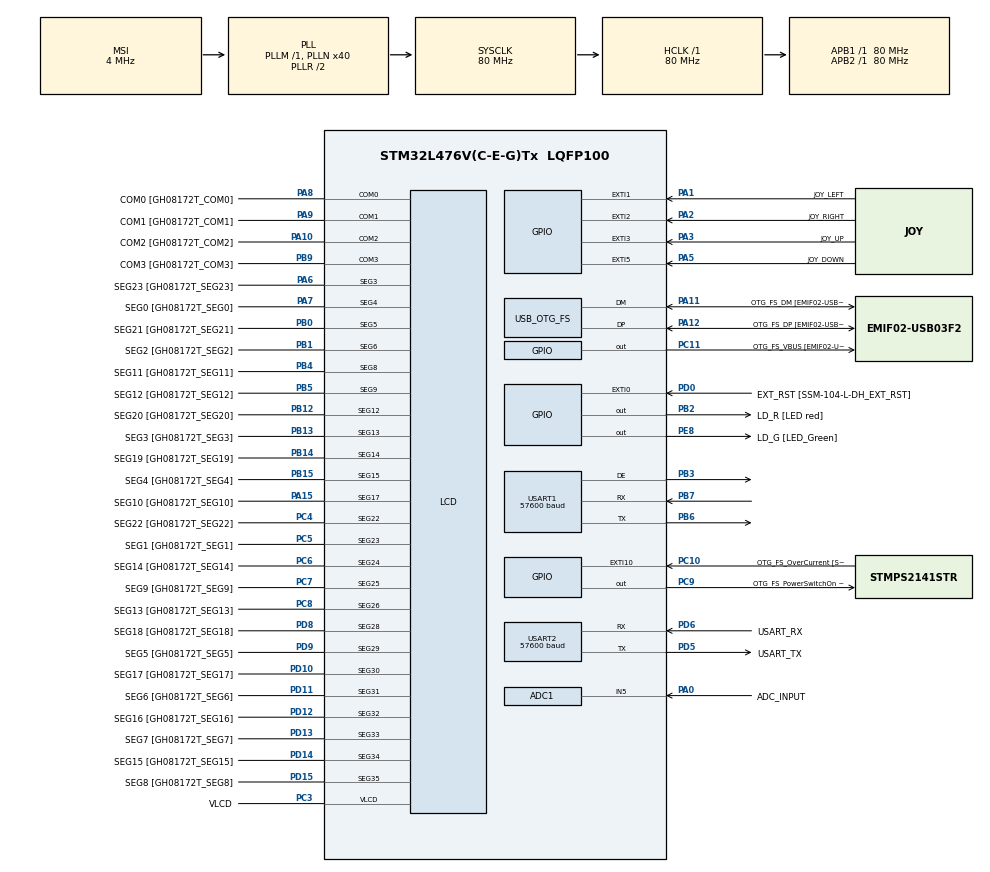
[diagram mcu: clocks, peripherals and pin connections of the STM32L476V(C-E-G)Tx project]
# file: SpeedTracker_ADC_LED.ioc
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ADC1.Channel-7\#ChannelRegularConversion=ADC_CHANNEL_5
ADC1.NbrOfConversionFlag=1
ADC1.OffsetNumber-7\#ChannelRegularConversion=ADC_OFFSET_NONE
ADC1.Rank-7\#ChannelRegularConversion=1
ADC1.SamplingTime-7\#ChannelRegularConversion=ADC_SAMPLETIME_2CYCLES_5
ADC1.master=1
Mcu.Family=STM32L4
Mcu.Name=STM32L476V(C-E-G)Tx
Mcu.Package=LQFP100
NVIC.EXTI1_IRQn=true\:2\:0\:true\:false\:true\:true\:true
NVIC.EXTI2_IRQn=true\:2\:0\:true\:false\:true\:true\:true
NVIC.EXTI3_IRQn=true\:2\:0\:true\:false\:true\:true\:true
NVIC.EXTI9_5_IRQn=true\:2\:0\:true\:false\:true\:true\:true
NVIC.OTG_FS_IRQn=true\:0\:0\:false\:false\:true\:true\:true
NVIC.PriorityGroup=NVIC_PRIORITYGROUP_4
NVIC.TIM1_UP_TIM16_IRQn=true\:1\:0\:true\:false\:true\:true\:true
PA0.GPIO_Label=ADC_INPUT
PA0.Signal=ADCx_IN5
PA1.GPIO_Label=JOY_LEFT
PA1.GPIO_PuPd=GPIO_PULLDOWN
PA1.Signal=GPXTI1
PA10.GPIO_Label=COM2 [GH08172T_COM2]
PA10.GPIO_Mode=GPIO_MODE_AF_PP
PA10.GPIO_PuPd=GPIO_NOPULL
PA10.GPIO_Speed=GPIO_SPEED_FREQ_LOW
PA10.Mode=1/4 Duty Cycle
PA10.Signal=LCD_COM2
PA11.GPIO_Label=OTG_FS_DM [EMIF02-USB03F2_D-out]
PA11.GPIO_Mode=GPIO_MODE_AF_PP
PA11.GPIO_PuPd=GPIO_NOPULL
PA11.GPIO_Speed=GPIO_SPEED_FREQ_VERY_HIGH
PA11.Mode=Host_Only
PA11.Signal=USB_OTG_FS_DM
PA12.GPIO_Label=OTG_FS_DP [EMIF02-USB03F2_D+out]
PA12.GPIO_Mode=GPIO_MODE_AF_PP
PA12.GPIO_PuPd=GPIO_NOPULL
PA12.GPIO_Speed=GPIO_SPEED_FREQ_VERY_HIGH
PA12.Mode=Host_Only
PA12.Signal=USB_OTG_FS_DP
PA13\ (JTMS-SWDIO).GPIO_Label=SWDIO
PA13\ (JTMS-SWDIO).Mode=Serial_Wire
PA13\ (JTMS-SWDIO).Signal=SYS_JTMS-SWDIO
PA14\ (JTCK-SWCLK).GPIO_Label=SWCLK
PA14\ (JTCK-SWCLK).Mode=Serial_Wire
PA14\ (JTCK-SWCLK).Signal=SYS_JTCK-SWCLK
PA15\ (JTDI).GPIO_Label=SEG10 [GH08172T_SEG10]
PA15\ (JTDI).GPIO_Mode=GPIO_MODE_AF_PP
PA15\ (JTDI).GPIO_PuPd=GPIO_NOPULL
PA15\ (JTDI).GPIO_Speed=GPIO_SPEED_FREQ_LOW
PA15\ (JTDI).Mode=SEG17
PA15\ (JTDI).Signal=LCD_SEG17
PA2.GPIO_Label=JOY_RIGHT
PA2.GPIO_PuPd=GPIO_PULLDOWN
PA2.Signal=GPXTI2
PA3.GPIO_Label=JOY_UP
PA3.GPIO_PuPd=GPIO_PULLDOWN
PA3.Signal=GPXTI3
PA5.GPIO_Label=JOY_DOWN
PA5.GPIO_PuPd=GPIO_PULLDOWN
PA5.Signal=GPXTI5
PA6.GPIO_Label=SEG23 [GH08172T_SEG23]
PA6.GPIO_Mode=GPIO_MODE_AF_PP
PA6.GPIO_PuPd=GPIO_NOPULL
PA6.GPIO_Speed=GPIO_SPEED_FREQ_LOW
PA6.Mode=SEG3
PA6.Signal=LCD_SEG3
PA7.GPIO_Label=SEG0 [GH08172T_SEG0]
PA7.GPIO_Mode=GPIO_MODE_AF_PP
PA7.GPIO_PuPd=GPIO_NOPULL
PA7.GPIO_Speed=GPIO_SPEED_FREQ_LOW
PA7.Mode=SEG4
PA7.Signal=LCD_SEG4
PA8.GPIO_Label=COM0 [GH08172T_COM0]
PA8.GPIO_Mode=GPIO_MODE_AF_PP
PA8.GPIO_PuPd=GPIO_NOPULL
PA8.GPIO_Speed=GPIO_SPEED_FREQ_LOW
PA8.Mode=1/4 Duty Cycle
PA8.Signal=LCD_COM0
PA9.GPIO_Label=COM1 [GH08172T_COM1]
PA9.GPIO_Mode=GPIO_MODE_AF_PP
PA9.GPIO_PuPd=GPIO_NOPULL
PA9.GPIO_Speed=GPIO_SPEED_FREQ_LOW
PA9.Mode=1/4 Duty Cycle
PA9.Signal=LCD_COM1
PB0.GPIO_Label=SEG21 [GH08172T_SEG21]
PB0.GPIO_Mode=GPIO_MODE_AF_PP
PB0.GPIO_PuPd=GPIO_NOPULL
PB0.GPIO_Speed=GPIO_SPEED_FREQ_LOW
PB0.Mode=SEG5
PB0.Signal=LCD_SEG5
PB1.GPIO_Label=SEG2 [GH08172T_SEG2]
PB1.GPIO_Mode=GPIO_MODE_AF_PP
PB1.GPIO_PuPd=GPIO_NOPULL
PB1.GPIO_Speed=GPIO_SPEED_FREQ_LOW
PB1.Mode=SEG6
PB1.Signal=LCD_SEG6
PB12.GPIO_Label=SEG20 [GH08172T_SEG20]
PB12.GPIO_Mode=GPIO_MODE_AF_PP
PB12.GPIO_PuPd=GPIO_NOPULL
PB12.GPIO_Speed=GPIO_SPEED_FREQ_LOW
PB12.Mode=SEG12
PB12.Signal=LCD_SEG12
PB13.GPIO_Label=SEG3 [GH08172T_SEG3]
PB13.GPIO_Mode=GPIO_MODE_AF_PP
PB13.GPIO_PuPd=GPIO_NOPULL
PB13.GPIO_Speed=GPIO_SPEED_FREQ_LOW
PB13.Mode=SEG13
PB13.Signal=LCD_SEG13
PB14.GPIO_Label=SEG19 [GH08172T_SEG19]
PB14.GPIO_Mode=GPIO_MODE_AF_PP
PB14.GPIO_PuPd=GPIO_NOPULL
PB14.GPIO_Speed=GPIO_SPEED_FREQ_LOW
PB14.Mode=SEG14
PB14.Signal=LCD_SEG14
PB15.GPIO_Label=SEG4 [GH08172T_SEG4]
PB15.GPIO_Mode=GPIO_MODE_AF_PP
PB15.GPIO_PuPd=GPIO_NOPULL
PB15.GPIO_Speed=GPIO_SPEED_FREQ_LOW
PB15.Mode=SEG15
PB15.Signal=LCD_SEG15
PB2.GPIO_Label=LD_R [LED red]
PB2.GPIO_ModeDefaultOutputPP=GPIO_MODE_OUTPUT_PP
PB2.GPIO_PuPd=GPIO_PULLUP
PB2.GPIO_Speed=GPIO_SPEED_FREQ_VERY_HIGH
PB2.Signal=GPIO_Output
PB3\ (JTDO-TRACESWO).Mode=Hardware Flow Control (RS485)
PB3\ (JTDO-TRACESWO).Signal=USART1_DE
PB4\ (NJTRST).GPIO_Label=SEG11 [GH08172T_SEG11]
PB4\ (NJTRST).GPIO_Mode=GPIO_MODE_AF_PP
PB4\ (NJTRST).GPIO_PuPd=GPIO_NOPULL
PB4\ (NJTRST).GPIO_Speed=GPIO_SPEED_FREQ_LOW
PB4\ (NJTRST).Mode=SEG8
PB4\ (NJTRST).Signal=LCD_SEG8
PB5.GPIO_Label=SEG12 [GH08172T_SEG12]
PB5.GPIO_Mode=GPIO_MODE_AF_PP
PB5.GPIO_PuPd=GPIO_NOPULL
PB5.GPIO_Speed=GPIO_SPEED_FREQ_LOW
PB5.Mode=SEG9
PB5.Signal=LCD_SEG9
PB6.Mode=Asynchronous
PB6.Signal=USART1_TX
PB7.Mode=Asynchronous
PB7.Signal=USART1_RX
PB9.GPIO_FM9=__NULL
PB9.GPIO_Label=COM3 [GH08172T_COM3]
PB9.GPIO_Mode=GPIO_MODE_AF_PP
PB9.GPIO_PuPd=GPIO_NOPULL
PB9.GPIO_Speed=GPIO_SPEED_FREQ_LOW
PB9.Mode=1/4 Duty Cycle
PB9.Signal=LCD_COM3
PC10.GPIO_Label=OTG_FS_OverCurrent [STMPS2141STR_FAULT]
PC10.GPIO_ModeDefaultEXTI=GPIO_MODE_EVT_RISING
PC10.GPIO_PuPd=GPIO_NOPULL
PC10.Signal=GPXTI10
PC11.GPIO_Label=OTG_FS_VBUS [EMIF02-USB03F2_Vbus]
PC11.GPIO_ModeDefaultOutputPP=GPIO_MODE_OUTPUT_PP
PC11.GPIO_PuPd=GPIO_NOPULL
PC11.GPIO_Speed=GPIO_SPEED_FREQ_LOW
PC11.Signal=GPIO_Output
PC14-OSC32_IN\ (PC14).Mode=LSE-External-Oscillator
PC14-OSC32_IN\ (PC14).Signal=RCC_OSC32_IN
PC15-OSC32_OUT\ (PC15).Mode=LSE-External-Oscillator
PC15-OSC32_OUT\ (PC15).Signal=RCC_OSC32_OUT
PC3.GPIO_Label=VLCD
PC3.GPIO_Mode=GPIO_MODE_AF_PP
PC3.GPIO_PuPd=GPIO_NOPULL
PC3.GPIO_Speed=GPIO_SPEED_FREQ_LOW
PC3.Mode=1/4 Duty Cycle
PC3.Signal=LCD_VLCD
PC4.GPIO_Label=SEG22 [GH08172T_SEG22]
PC4.GPIO_Mode=GPIO_MODE_AF_PP
PC4.GPIO_PuPd=GPIO_NOPULL
PC4.GPIO_Speed=GPIO_SPEED_FREQ_LOW
PC4.Mode=SEG22
PC4.Signal=LCD_SEG22
PC5.GPIO_Label=SEG1 [GH08172T_SEG1]
PC5.GPIO_Mode=GPIO_MODE_AF_PP
PC5.GPIO_PuPd=GPIO_NOPULL
PC5.GPIO_Speed=GPIO_SPEED_FREQ_LOW
PC5.Mode=SEG23
PC5.Signal=LCD_SEG23
PC6.GPIO_Label=SEG14 [GH08172T_SEG14]
PC6.GPIO_Mode=GPIO_MODE_AF_PP
PC6.GPIO_PuPd=GPIO_NOPULL
PC6.GPIO_Speed=GPIO_SPEED_FREQ_LOW
PC6.Mode=SEG24
PC6.Signal=LCD_SEG24
PC7.GPIO_Label=SEG9 [GH08172T_SEG9]
PC7.GPIO_Mode=GPIO_MODE_AF_PP
PC7.GPIO_PuPd=GPIO_NOPULL
PC7.GPIO_Speed=GPIO_SPEED_FREQ_LOW
PC7.Mode=SEG25
PC7.Signal=LCD_SEG25
PC8.GPIO_Label=SEG13 [GH08172T_SEG13]
PC8.GPIO_Mode=GPIO_MODE_AF_PP
PC8.GPIO_PuPd=GPIO_NOPULL
PC8.GPIO_Speed=GPIO_SPEED_FREQ_LOW
PC8.Mode=SEG26
PC8.Signal=LCD_SEG26
PC9.GPIO_Label=OTG_FS_PowerSwitchOn [STMPS2141STR_EN]
PC9.GPIO_ModeDefaultOutputPP=GPIO_MODE_OUTPUT_PP
PC9.GPIO_PuPd=GPIO_NOPULL
PC9.GPIO_Speed=GPIO_SPEED_FREQ_LOW
PC9.PinState=GPIO_PIN_SET
PC9.Signal=GPIO_Output
PD0.GPIO_Label=EXT_RST [SSM-104-L-DH_EXT_RST]
PD0.GPIO_ModeDefaultEXTI=GPIO_MODE_EVT_RISING
PD0.GPIO_PuPd=GPIO_NOPULL
PD0.Signal=GPXTI0
PD10.GPIO_Label=SEG17 [GH08172T_SEG17]
PD10.GPIO_Mode=GPIO_MODE_AF_PP
PD10.GPIO_PuPd=GPIO_NOPULL
PD10.GPIO_Speed=GPIO_SPEED_FREQ_LOW
PD10.Mode=SEG30
PD10.Signal=LCD_SEG30
PD11.GPIO_Label=SEG6 [GH08172T_SEG6]
PD11.GPIO_Mode=GPIO_MODE_AF_PP
PD11.GPIO_PuPd=GPIO_NOPULL
PD11.GPIO_Speed=GPIO_SPEED_FREQ_LOW
PD11.Mode=SEG31
PD11.Signal=LCD_SEG31
PD12.GPIO_Label=SEG16 [GH08172T_SEG16]
PD12.GPIO_Mode=GPIO_MODE_AF_PP
PD12.GPIO_PuPd=GPIO_NOPULL
PD12.GPIO_Speed=GPIO_SPEED_FREQ_LOW
PD12.Mode=SEG32
PD12.Signal=LCD_SEG32
PD13.GPIO_Label=SEG7 [GH08172T_SEG7]
PD13.GPIO_Mode=GPIO_MODE_AF_PP
PD13.GPIO_PuPd=GPIO_NOPULL
PD13.GPIO_Speed=GPIO_SPEED_FREQ_LOW
PD13.Mode=SEG33
PD13.Signal=LCD_SEG33
PD14.GPIO_Label=SEG15 [GH08172T_SEG15]
PD14.GPIO_Mode=GPIO_MODE_AF_PP
PD14.GPIO_PuPd=GPIO_NOPULL
PD14.GPIO_Speed=GPIO_SPEED_FREQ_LOW
PD14.Mode=SEG34
PD14.Signal=LCD_SEG34
PD15.GPIO_Label=SEG8 [GH08172T_SEG8]
PD15.GPIO_Mode=GPIO_MODE_AF_PP
PD15.GPIO_PuPd=GPIO_NOPULL
PD15.GPIO_Speed=GPIO_SPEED_FREQ_LOW
PD15.Mode=SEG35
PD15.Signal=LCD_SEG35
PD5.GPIO_Label=USART_TX
PD5.GPIO_Mode=GPIO_MODE_AF_PP
PD5.GPIO_PuPd=GPIO_PULLUP
PD5.GPIO_Speed=GPIO_SPEED_FREQ_VERY_HIGH
PD5.Mode=Asynchronous
PD5.Signal=USART2_TX
PD6.GPIO_Label=USART_RX
PD6.GPIO_Mode=GPIO_MODE_AF_PP
PD6.GPIO_PuPd=GPIO_PULLUP
PD6.GPIO_Speed=GPIO_SPEED_FREQ_VERY_HIGH
PD6.Mode=Asynchronous
PD6.Signal=USART2_RX
PD8.GPIO_Label=SEG18 [GH08172T_SEG18]
PD8.GPIO_Mode=GPIO_MODE_AF_PP
PD8.GPIO_PuPd=GPIO_NOPULL
PD8.GPIO_Speed=GPIO_SPEED_FREQ_LOW
PD8.Mode=SEG28
PD8.Signal=LCD_SEG28
PD9.GPIO_Label=SEG5 [GH08172T_SEG5]
PD9.GPIO_Mode=GPIO_MODE_AF_PP
PD9.GPIO_PuPd=GPIO_NOPULL
PD9.GPIO_Speed=GPIO_SPEED_FREQ_LOW
PD9.Mode=SEG29
PD9.Signal=LCD_SEG29
PE8.GPIO_Label=LD_G [LED_Green]
PE8.GPIO_ModeDefaultOutputPP=GPIO_MODE_OUTPUT_PP
PE8.GPIO_PuPd=GPIO_PULLUP
PE8.GPIO_Speed=GPIO_SPEED_FREQ_VERY_HIGH
PE8.Signal=GPIO_Output
PH0-OSC_IN\ (PH0).Mode=HSE-External-Oscillator
PH0-OSC_IN\ (PH0).Signal=RCC_OSC_IN
PH1-OSC_OUT\ (PH1).Mode=HSE-External-Oscillator
PH1-OSC_OUT\ (PH1).Signal=RCC_OSC_OUT
ProjectManager.HeapSize=0x200
ProjectManager.StackSize=0x400
ProjectManager.TargetToolchain=STM32CubeIDE
RCC.ADCFreq_Value=48000000
RCC.AHBFreq_Value=80000000
RCC.APB1Freq_Value=80000000
RCC.APB1TimFreq_Value=80000000
RCC.APB2Freq_Value=80000000
RCC.APB2TimFreq_Value=80000000
RCC.CortexFreq_Value=80000000
RCC.HCLKFreq_Value=80000000
RCC.HSE_VALUE=8000000
RCC.HSI_VALUE=16000000
RCC.MSI_VALUE=4000000
RCC.PLLN=40
RCC.PLLSAI1N=24
RCC.PREFETCH_ENABLE=1
RCC.SYSCLKFreq_VALUE=80000000
RCC.SYSCLKSource=RCC_SYSCLKSOURCE_PLLCLK
RCC.USBFreq_Value=48000000
RCC.VCOOutputFreq_Value=160000000
SH.ADCx_IN5.0=ADC1_IN5,IN5-Single-Ended
TIM1.Period=198
TIM1.Prescaler=99
USART1.BaudRate=57600
USART1.Parity=PARITY_EVEN
USART1.VirtualMode-Asynchronous=VM_ASYNC
USART1.VirtualMode-Hardware\ Flow\ Control\ (RS485)=VM_ASYNC
USART1.WordLength=WORDLENGTH_9B
USART2.BaudRate=57600
USART2.Parity=PARITY_EVEN
USART2.VirtualMode-Asynchronous=VM_ASYNC
USART2.WordLength=WORDLENGTH_9B
USB_HOST.BSP.number=1
USB_HOST.USBH_HandleTypeDef=hUsbHostFS
USB_HOST.VirtualModeFS=Cdc
USB_HOST0.BSP.STBoard=false
USB_HOST0.BSP.api=Unknown
USB_HOST0.BSP.i2caddr=0
USB_HOST0.BSP.i2creg=0
USB_HOST0.BSP.instance=PC9
USB_HOST0.BSP.ip=GPIO
USB_HOST0.BSP.mode=Output
USB_HOST0.BSP.name=Drive_VBUS_FS
USB_HOST0.BSP.solution=PC9
USB_OTG_FS.VirtualMode=Host_Only
USB_OTG_FS.phy_itface=HCD_PHY_EMBEDDED
VP_TIM1_VS_ClockSourceINT.Mode=Internal
VP_USB_HOST_VS_USB_HOST_CDC_FS.Mode=CDC_FS
board=STM32L476G-DISCO

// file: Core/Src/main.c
/* USER CODE BEGIN Header */
/**
 ******************************************************************************
 * @file           : main.c
 * @brief          : Main program body
 ******************************************************************************
 * @attention
 *
 * Copyright EEEE2059(2020) Group 6.
 * All rights reserved.
 *
 * PB6 -> USART1_TX
 * PB7 -> USART1_RX
 * Baud rate: must be 57600 bits/s
 *
 * PA0 -> ADC_INPUT
 *
 * This program is only used for final demonstration!
 *
 ******************************************************************************
 */
/* USER CODE END Header */
#include "main.h"
#include "usb_host.h"

/* USER CODE BEGIN Includes */

#include <stdio.h>
#include <stm32l476g_discovery.h>
#include <stm32l476g_discovery_glass_lcd.h>
#include <arm_math.h>
#include <arm_const_structs.h>

/* USER CODE END Includes */

/* USER CODE BEGIN PTD */

typedef enum
{
	USER_SPEED_MODE_KPH = 0U, USER_SPEED_MODE_MPS = 1U, USER_SPEED_MODE_MPH = 2U
} USER_SpeedModeTypeDef;

/* USER CODE END PTD */

/* USER CODE BEGIN PD */

/**
 ******************************************************************************
 *Comment this line if you want to show speed
 *Or it will show frequency
 *When it is in FREQUENCY MODE, speed unit switching is disabled
 ******************************************************************************
 */
//#define SHOW_FREQ
#define SHOW_NUMBER

#ifdef SHOW_NUMBER
#define SHOW_NUMBER_START_VALUE 88
#endif

#define SAMPLE_FREQ (4000)
#define FFT_SIZE (4096)
#define N_BINS FFT_SIZE
#define OUTPUT_FREQ_OFFSET (1)

/* USER CODE END PD */

ADC_HandleTypeDef hadc1;

LCD_HandleTypeDef hlcd;

TIM_HandleTypeDef htim1;

UART_HandleTypeDef huart1;
UART_HandleTypeDef huart2;

/* USER CODE BEGIN PV */
//temp
uint8_t leftvalue = 0;
uint8_t rightvalue = 0;

//ADC
uint32_t currentADCValue = 0;
float32_t realVoltage = 0.0;

//FFT
float32_t fftMaxAmp = 0;
uint32_t fftMaxFreq = 0;
uint8_t isNewFreq = 0;	//1->enable	//0->unable
uint16_t fftIndex = 0;
float32_t fftInput[FFT_SIZE];
float32_t fftOutput[FFT_SIZE];
float32_t cmplxMagOutput[FFT_SIZE / 2];
arm_rfft_fast_instance_f32 S;

//LCD
char LCDTextBuffer[7];
uint8_t currentSpeedMode = USER_SPEED_MODE_KPH;
const uint8_t speedModeNum = 3;
float32_t realFreq = 0;
float32_t speedValue = 0;
const float32_t freqResolution = (float32_t) SAMPLE_FREQ / (float32_t) N_BINS;
const float32_t freqMax = (float32_t) 10525 / (float32_t) 9;
//const float32_t freqMin = (float32_t) 2105 / (float32_t) 27;
const float32_t freqMin = 0;
const float32_t ampMin = 34;
const float32_t factorFreqKPH = (float32_t) 108 / (float32_t) 2105 * (float32_t)100;	//times 100 for .XX
const float32_t factorFreqMPS = (float32_t) 6 / (float32_t) 421 * (float32_t)100;		//times 100 for .XX
const float32_t factorFreqMPH = (float32_t) 21600 / (float32_t) 421;
uint8_t isLCDPoint = 0;	//1->enable	//0->unable

//LED Display (through USART1 communication)
uint8_t LEDTextBuffer;
uint8_t speedValueLED = 0;
const float32_t factorFreqLEDKPH = (float32_t) 108 / (float32_t) 2105;

//Device state
uint8_t isPause = 0;	//1->pause	//0->run

//SHOW_NUMBER_VALUE
#ifdef SHOW_NUMBER
uint8_t showNumberValue = SHOW_NUMBER_START_VALUE;
#endif

/* USER CODE END PV */

void SystemClock_Config(void);
static void MX_GPIO_Init(void);
static void MX_LCD_Init(void);
static void MX_USART2_UART_Init(void);
static void MX_ADC1_Init(void);
static void MX_TIM1_Init(void);
static void MX_USART1_UART_Init(void);
void MX_USB_HOST_Process(void);

/* USER CODE BEGIN PFP */

void Initialize();
void User_ReadADC();
void User_FFT();
void RefreshLCD();

#ifndef SHOW_NUMBER
void ShowSpeedMode()
#endif

/* USER CODE END PFP */

int main(void)
{

  /* MCU Configuration--------------------------------------------------------*/

  /* Reset of all peripherals, Initializes the Flash interface and the Systick. */
  HAL_Init();

  /* Configure the system clock */
  SystemClock_Config();

  /* Initialize all configured peripherals */
  MX_GPIO_Init();
  MX_LCD_Init();
  MX_USART2_UART_Init();
  MX_USB_HOST_Init();
  MX_ADC1_Init();
  MX_TIM1_Init();
  MX_USART1_UART_Init();
  /* USER CODE BEGIN 2 */

  Initialize();

  /* USER CODE END 2 */

  /* Infinite loop */
    while (1)
    {
    MX_USB_HOST_Process();

    /* USER CODE BEGIN 3 */

        //Refresh LCD
        if (isNewFreq)
        {
            RefreshLCD();
            isNewFreq = 0;
        }
    }
  /* USER CODE END 3 */
}

void SystemClock_Config(void)
{
  RCC_OscInitTypeDef RCC_OscInitStruct = {0};
  RCC_ClkInitTypeDef RCC_ClkInitStruct = {0};
  RCC_PeriphCLKInitTypeDef PeriphClkInit = {0};

  /** Configure LSE Drive Capability
  */
  HAL_PWR_EnableBkUpAccess();
  __HAL_RCC_LSEDRIVE_CONFIG(RCC_LSEDRIVE_LOW);
  /** Initializes the RCC Oscillators according to the specified parameters
  * in the RCC_OscInitTypeDef structure.
  */
  RCC_OscInitStruct.OscillatorType = RCC_OSCILLATORTYPE_LSI|RCC_OSCILLATORTYPE_LSE
                              |RCC_OSCILLATORTYPE_MSI;
  RCC_OscInitStruct.LSEState = RCC_LSE_ON;
  RCC_OscInitStruct.LSIState = RCC_LSI_ON;
  RCC_OscInitStruct.MSIState = RCC_MSI_ON;
  RCC_OscInitStruct.MSICalibrationValue = 0;
  RCC_OscInitStruct.MSIClockRange = RCC_MSIRANGE_6;
  RCC_OscInitStruct.PLL.PLLState = RCC_PLL_ON;
  RCC_OscInitStruct.PLL.PLLSource = RCC_PLLSOURCE_MSI;
  RCC_OscInitStruct.PLL.PLLM = 1;
  RCC_OscInitStruct.PLL.PLLN = 40;
  RCC_OscInitStruct.PLL.PLLP = RCC_PLLP_DIV7;
  RCC_OscInitStruct.PLL.PLLQ = RCC_PLLQ_DIV2;
  RCC_OscInitStruct.PLL.PLLR = RCC_PLLR_DIV2;
  if (HAL_RCC_OscConfig(&RCC_OscInitStruct) != HAL_OK)
  {
    Error_Handler();
  }
  /** Initializes the CPU, AHB and APB buses clocks
  */
  RCC_ClkInitStruct.ClockType = RCC_CLOCKTYPE_HCLK|RCC_CLOCKTYPE_SYSCLK
                              |RCC_CLOCKTYPE_PCLK1|RCC_CLOCKTYPE_PCLK2;
  RCC_ClkInitStruct.SYSCLKSource = RCC_SYSCLKSOURCE_PLLCLK;
  RCC_ClkInitStruct.AHBCLKDivider = RCC_SYSCLK_DIV1;
  RCC_ClkInitStruct.APB1CLKDivider = RCC_HCLK_DIV1;
  RCC_ClkInitStruct.APB2CLKDivider = RCC_HCLK_DIV1;

  if (HAL_RCC_ClockConfig(&RCC_ClkInitStruct, FLASH_LATENCY_4) != HAL_OK)
  {
    Error_Handler();
  }
  PeriphClkInit.PeriphClockSelection = RCC_PERIPHCLK_RTC|RCC_PERIPHCLK_USART1
                              |RCC_PERIPHCLK_USART2|RCC_PERIPHCLK_USB
                              |RCC_PERIPHCLK_ADC;
  PeriphClkInit.Usart1ClockSelection = RCC_USART1CLKSOURCE_PCLK2;
  PeriphClkInit.Usart2ClockSelection = RCC_USART2CLKSOURCE_PCLK1;
  PeriphClkInit.AdcClockSelection = RCC_ADCCLKSOURCE_PLLSAI1;
  PeriphClkInit.RTCClockSelection = RCC_RTCCLKSOURCE_LSI;
  PeriphClkInit.UsbClockSelection = RCC_USBCLKSOURCE_PLLSAI1;
  PeriphClkInit.PLLSAI1.PLLSAI1Source = RCC_PLLSOURCE_MSI;
  PeriphClkInit.PLLSAI1.PLLSAI1M = 1;
  PeriphClkInit.PLLSAI1.PLLSAI1N = 24;
  PeriphClkInit.PLLSAI1.PLLSAI1P = RCC_PLLP_DIV7;
  PeriphClkInit.PLLSAI1.PLLSAI1Q = RCC_PLLQ_DIV2;
  PeriphClkInit.PLLSAI1.PLLSAI1R = RCC_PLLR_DIV2;
  PeriphClkInit.PLLSAI1.PLLSAI1ClockOut = RCC_PLLSAI1_48M2CLK|RCC_PLLSAI1_ADC1CLK;
  if (HAL_RCCEx_PeriphCLKConfig(&PeriphClkInit) != HAL_OK)
  {
    Error_Handler();
  }
  /** Configure the main internal regulator output voltage
  */
  if (HAL_PWREx_ControlVoltageScaling(PWR_REGULATOR_VOLTAGE_SCALE1) != HAL_OK)
  {
    Error_Handler();
  }
  /** Enable MSI Auto calibration
  */
  HAL_RCCEx_EnableMSIPLLMode();
}

static void MX_ADC1_Init(void)
{

  ADC_MultiModeTypeDef multimode = {0};
  ADC_ChannelConfTypeDef sConfig = {0};

  /** Common config
  */
  hadc1.Instance = ADC1;
  hadc1.Init.ClockPrescaler = ADC_CLOCK_ASYNC_DIV1;
  hadc1.Init.Resolution = ADC_RESOLUTION_12B;
  hadc1.Init.DataAlign = ADC_DATAALIGN_RIGHT;
  hadc1.Init.ScanConvMode = ADC_SCAN_DISABLE;
  hadc1.Init.EOCSelection = ADC_EOC_SINGLE_CONV;
  hadc1.Init.LowPowerAutoWait = DISABLE;
  hadc1.Init.ContinuousConvMode = DISABLE;
  hadc1.Init.NbrOfConversion = 1;
  hadc1.Init.DiscontinuousConvMode = DISABLE;
  hadc1.Init.ExternalTrigConv = ADC_SOFTWARE_START;
  hadc1.Init.ExternalTrigConvEdge = ADC_EXTERNALTRIGCONVEDGE_NONE;
  hadc1.Init.DMAContinuousRequests = DISABLE;
  hadc1.Init.Overrun = ADC_OVR_DATA_PRESERVED;
  hadc1.Init.OversamplingMode = DISABLE;
  if (HAL_ADC_Init(&hadc1) != HAL_OK)
  {
    Error_Handler();
  }
  /** Configure the ADC multi-mode
  */
  multimode.Mode = ADC_MODE_INDEPENDENT;
  if (HAL_ADCEx_MultiModeConfigChannel(&hadc1, &multimode) != HAL_OK)
  {
    Error_Handler();
  }
  /** Configure Regular Channel
  */
  sConfig.Channel = ADC_CHANNEL_5;
  sConfig.Rank = ADC_REGULAR_RANK_1;
  sConfig.SamplingTime = ADC_SAMPLETIME_2CYCLES_5;
  sConfig.SingleDiff = ADC_SINGLE_ENDED;
  sConfig.OffsetNumber = ADC_OFFSET_NONE;
  sConfig.Offset = 0;
  if (HAL_ADC_ConfigChannel(&hadc1, &sConfig) != HAL_OK)
  {
    Error_Handler();
  }

}

static void MX_LCD_Init(void)
{

  hlcd.Instance = LCD;
  hlcd.Init.Prescaler = LCD_PRESCALER_1;
  hlcd.Init.Divider = LCD_DIVIDER_16;
  hlcd.Init.Duty = LCD_DUTY_1_4;
  hlcd.Init.Bias = LCD_BIAS_1_4;
  hlcd.Init.VoltageSource = LCD_VOLTAGESOURCE_INTERNAL;
  hlcd.Init.Contrast = LCD_CONTRASTLEVEL_0;
  hlcd.Init.DeadTime = LCD_DEADTIME_0;
  hlcd.Init.PulseOnDuration = LCD_PULSEONDURATION_0;
  hlcd.Init.MuxSegment = LCD_MUXSEGMENT_DISABLE;
  hlcd.Init.BlinkMode = LCD_BLINKMODE_OFF;
  hlcd.Init.BlinkFrequency = LCD_BLINKFREQUENCY_DIV8;
  hlcd.Init.HighDrive = LCD_HIGHDRIVE_DISABLE;
  if (HAL_LCD_Init(&hlcd) != HAL_OK)
  {
    Error_Handler();
  }

}

static void MX_TIM1_Init(void)
{

  TIM_ClockConfigTypeDef sClockSourceConfig = {0};
  TIM_MasterConfigTypeDef sMasterConfig = {0};

  htim1.Instance = TIM1;
  htim1.Init.Prescaler = 99;
  htim1.Init.CounterMode = TIM_COUNTERMODE_UP;
  htim1.Init.Period = 198;
  htim1.Init.ClockDivision = TIM_CLOCKDIVISION_DIV1;
  htim1.Init.RepetitionCounter = 0;
  htim1.Init.AutoReloadPreload = TIM_AUTORELOAD_PRELOAD_DISABLE;
  if (HAL_TIM_Base_Init(&htim1) != HAL_OK)
  {
    Error_Handler();
  }
  sClockSourceConfig.ClockSource = TIM_CLOCKSOURCE_INTERNAL;
  if (HAL_TIM_ConfigClockSource(&htim1, &sClockSourceConfig) != HAL_OK)
  {
    Error_Handler();
  }
  sMasterConfig.MasterOutputTrigger = TIM_TRGO_RESET;
  sMasterConfig.MasterOutputTrigger2 = TIM_TRGO2_RESET;
  sMasterConfig.MasterSlaveMode = TIM_MASTERSLAVEMODE_DISABLE;
  if (HAL_TIMEx_MasterConfigSynchronization(&htim1, &sMasterConfig) != HAL_OK)
  {
    Error_Handler();
  }

}

static void MX_USART1_UART_Init(void)
{

  huart1.Instance = USART1;
  huart1.Init.BaudRate = 57600;
  huart1.Init.WordLength = UART_WORDLENGTH_8B;
  huart1.Init.StopBits = UART_STOPBITS_1;
  huart1.Init.Parity = UART_PARITY_NONE;
  huart1.Init.Mode = UART_MODE_TX_RX;
  huart1.Init.HwFlowCtl = UART_HWCONTROL_NONE;
  huart1.Init.OverSampling = UART_OVERSAMPLING_16;
  huart1.Init.OneBitSampling = UART_ONE_BIT_SAMPLE_DISABLE;
  huart1.AdvancedInit.AdvFeatureInit = UART_ADVFEATURE_NO_INIT;
  if (HAL_RS485Ex_Init(&huart1, UART_DE_POLARITY_HIGH, 0, 0) != HAL_OK)
  {
    Error_Handler();
  }

}

static void MX_USART2_UART_Init(void)
{

  huart2.Instance = USART2;
  huart2.Init.BaudRate = 57600;
  huart2.Init.WordLength = UART_WORDLENGTH_9B;
  huart2.Init.StopBits = UART_STOPBITS_1;
  huart2.Init.Parity = UART_PARITY_EVEN;
  huart2.Init.Mode = UART_MODE_TX_RX;
  huart2.Init.HwFlowCtl = UART_HWCONTROL_NONE;
  huart2.Init.OverSampling = UART_OVERSAMPLING_16;
  huart2.Init.OneBitSampling = UART_ONE_BIT_SAMPLE_DISABLE;
  huart2.AdvancedInit.AdvFeatureInit = UART_ADVFEATURE_NO_INIT;
  if (HAL_UART_Init(&huart2) != HAL_OK)
  {
    Error_Handler();
  }

}

static void MX_GPIO_Init(void)
{
  GPIO_InitTypeDef GPIO_InitStruct = {0};

  /* GPIO Ports Clock Enable */
  __HAL_RCC_GPIOC_CLK_ENABLE();
  __HAL_RCC_GPIOH_CLK_ENABLE();
  __HAL_RCC_GPIOA_CLK_ENABLE();
  __HAL_RCC_GPIOB_CLK_ENABLE();
  __HAL_RCC_GPIOE_CLK_ENABLE();
  __HAL_RCC_GPIOD_CLK_ENABLE();

  /*Configure GPIO pin Output Level */
  HAL_GPIO_WritePin(LD_R_GPIO_Port, LD_R_Pin, GPIO_PIN_RESET);

  /*Configure GPIO pin Output Level */
  HAL_GPIO_WritePin(LD_G_GPIO_Port, LD_G_Pin, GPIO_PIN_RESET);

  /*Configure GPIO pin Output Level */
  HAL_GPIO_WritePin(OTG_FS_PowerSwitchOn_GPIO_Port, OTG_FS_PowerSwitchOn_Pin, GPIO_PIN_SET);

  /*Configure GPIO pin Output Level */
  HAL_GPIO_WritePin(OTG_FS_VBUS_GPIO_Port, OTG_FS_VBUS_Pin, GPIO_PIN_RESET);

  /*Configure GPIO pins : JOY_LEFT_Pin JOY_RIGHT_Pin JOY_UP_Pin JOY_DOWN_Pin */
  GPIO_InitStruct.Pin = JOY_LEFT_Pin|JOY_RIGHT_Pin|JOY_UP_Pin|JOY_DOWN_Pin;
  GPIO_InitStruct.Mode = GPIO_MODE_IT_RISING;
  GPIO_InitStruct.Pull = GPIO_PULLDOWN;
  HAL_GPIO_Init(GPIOA, &GPIO_InitStruct);

  /*Configure GPIO pin : LD_R_Pin */
  GPIO_InitStruct.Pin = LD_R_Pin;
  GPIO_InitStruct.Mode = GPIO_MODE_OUTPUT_PP;
  GPIO_InitStruct.Pull = GPIO_PULLUP;
  GPIO_InitStruct.Speed = GPIO_SPEED_FREQ_VERY_HIGH;
  HAL_GPIO_Init(LD_R_GPIO_Port, &GPIO_InitStruct);

  /*Configure GPIO pin : LD_G_Pin */
  GPIO_InitStruct.Pin = LD_G_Pin;
  GPIO_InitStruct.Mode = GPIO_MODE_OUTPUT_PP;
  GPIO_InitStruct.Pull = GPIO_PULLUP;
  GPIO_InitStruct.Speed = GPIO_SPEED_FREQ_VERY_HIGH;
  HAL_GPIO_Init(LD_G_GPIO_Port, &GPIO_InitStruct);

  /*Configure GPIO pins : OTG_FS_PowerSwitchOn_Pin OTG_FS_VBUS_Pin */
  GPIO_InitStruct.Pin = OTG_FS_PowerSwitchOn_Pin|OTG_FS_VBUS_Pin;
  GPIO_InitStruct.Mode = GPIO_MODE_OUTPUT_PP;
  GPIO_InitStruct.Pull = GPIO_NOPULL;
  GPIO_InitStruct.Speed = GPIO_SPEED_FREQ_LOW;
  HAL_GPIO_Init(GPIOC, &GPIO_InitStruct);

  /*Configure GPIO pin : OTG_FS_OverCurrent_Pin */
  GPIO_InitStruct.Pin = OTG_FS_OverCurrent_Pin;
  GPIO_InitStruct.Mode = GPIO_MODE_EVT_RISING;
  GPIO_InitStruct.Pull = GPIO_NOPULL;
  HAL_GPIO_Init(OTG_FS_OverCurrent_GPIO_Port, &GPIO_InitStruct);

  /*Configure GPIO pin : EXT_RST_Pin */
  GPIO_InitStruct.Pin = EXT_RST_Pin;
  GPIO_InitStruct.Mode = GPIO_MODE_EVT_RISING;
  GPIO_InitStruct.Pull = GPIO_NOPULL;
  HAL_GPIO_Init(EXT_RST_GPIO_Port, &GPIO_InitStruct);

  /* EXTI interrupt init*/
  HAL_NVIC_SetPriority(EXTI1_IRQn, 2, 0);
  HAL_NVIC_EnableIRQ(EXTI1_IRQn);

  HAL_NVIC_SetPriority(EXTI2_IRQn, 2, 0);
  HAL_NVIC_EnableIRQ(EXTI2_IRQn);

  HAL_NVIC_SetPriority(EXTI3_IRQn, 2, 0);
  HAL_NVIC_EnableIRQ(EXTI3_IRQn);

  HAL_NVIC_SetPriority(EXTI9_5_IRQn, 2, 0);
  HAL_NVIC_EnableIRQ(EXTI9_5_IRQn);

}

/* USER CODE BEGIN 4 */

void Initialize()
{
	//Start Timer1 interrupt
	HAL_TIM_Base_Start_IT(&htim1);

	//Initiate LCD by BSP
	BSP_LCD_GLASS_Init();
	BSP_LCD_GLASS_Contrast(LCD_CONTRASTLEVEL_5);

	//Initiate LED by BSP
	BSP_LED_Init(LED_GREEN);
	BSP_LED_Init(LED_RED);

	//ADC1 Calibration
	HAL_ADCEx_Calibration_Start(&hadc1, ADC_SINGLE_ENDED);

	//RFFT Instance initialization
	arm_rfft_fast_init_f32(&S, FFT_SIZE);
}

//Used to ADC reading and filling FFInput array
void HAL_TIM_PeriodElapsedCallback(TIM_HandleTypeDef *htim)
{
	if (htim == &htim1)
	{
		if (!isPause)
		{
			BSP_LED_Toggle(LED_GREEN);
			User_ReadADC();
			if (fftIndex >= FFT_SIZE - 1)
			{
				User_FFT();
				isNewFreq = 1;
				BSP_LED_Toggle(LED_RED);
			}
			else
			{
				fftInput[fftIndex] = (float32_t) currentADCValue;
				fftIndex++;
			}
			BSP_LED_Toggle(LED_GREEN);
		}
	}
}

void User_ReadADC()
{
	HAL_ADC_Start(&hadc1);
	HAL_ADC_PollForConversion(&hadc1, HAL_MAX_DELAY);
	currentADCValue = HAL_ADC_GetValue(&hadc1);
	realVoltage = currentADCValue / 4095.0 * 3.3;
}

void User_FFT()
{
	arm_rfft_fast_f32(&S, fftInput, fftOutput, 0);
	arm_cmplx_mag_f32(fftOutput, cmplxMagOutput, FFT_SIZE / 2);
	arm_max_f32(cmplxMagOutput + 15, FFT_SIZE / 2 - 15, &fftMaxAmp, &fftMaxFreq);
	fftMaxFreq += 15;
	fftIndex = 0;
}

void RefreshLCD()
{
#ifndef SHOW_NUMBER

#ifndef SHOW_FREQ
	if (fftMaxAmp < ampMin)
	{
		snprintf(LCDTextBuffer, 7, "%6s", "NULL");
		isLCDPoint = 0;
		LEDTextBuffer = 0xAA;    //EP
	}
	else
	{
		realFreq = (fftMaxFreq + OUTPUT_FREQ_OFFSET) * freqResolution;
		if (realFreq > freqMax)
		{
			snprintf(LCDTextBuffer, 7, "%6s", "HIGH");
			isLCDPoint = 0;
			LEDTextBuffer = 0xBB;   //HI
		}
		else if (realFreq < freqMin)
		{
			snprintf(LCDTextBuffer, 7, "%6s", "LOW");
			isLCDPoint = 0;
			LEDTextBuffer = 0xCC;   //LO
		}
		else
		{
			switch (currentSpeedMode)
			{
				case USER_SPEED_MODE_MPH:
					speedValue = realFreq * factorFreqMPH;
					isLCDPoint = 0;
					break;
				case USER_SPEED_MODE_MPS:
					speedValue = realFreq * factorFreqMPS;
					isLCDPoint = 1;
					break;
				default:	//USER_SPEED_MODE_KPH
				    speedValue = realFreq * factorFreqKPH;
					isLCDPoint = 1;
					break;
			}
			snprintf(LCDTextBuffer, 7, "%6d", (uint16_t) speedValue);

			//LED display must show in unit: KPH
			speedValueLED = realFreq * factorFreqLEDKPH;
			speedValueLED = ((uint16_t)speedValueLED / 10) << 4 | ((uint16_t)speedValueLED % 10);
			LEDTextBuffer = speedValueLED;
		}
	}

	if(isLCDPoint)
	{
		uint16_t tempExString[6];
		for(int i = 0; i < 6; i++)
		{
			tempExString[i] = LCDTextBuffer[i];
		}
		tempExString[3] |= DOT;
		BSP_LCD_GLASS_DisplayStrDeci(tempExString);
	}
	else
	{
		BSP_LCD_GLASS_DisplayString(LCDTextBuffer);
	}

	//LED display data sending
    HAL_UART_Transmit(&huart2, &LEDTextBuffer, 1, HAL_MAX_DELAY);
    HAL_UART_Transmit(&huart1, &LEDTextBuffer, 1, HAL_MAX_DELAY);
#endif

#ifdef SHOW_FREQ
	realFreq = (fftMaxFreq + OUTPUT_FREQ_OFFSET) * freqResolution;
	snprintf(LCDTextBuffer, 7, "%6d", (uint16_t) realFreq);
	BSP_LCD_GLASS_DisplayString(LCDTextBuffer);

	//LED display show "FR"
	LEDTextBuffer = 0xDD;   //FR
    HAL_UART_Transmit(&huart2, &LEDTextBuffer, 1, HAL_MAX_DELAY);
    HAL_UART_Transmit(&huart1, &LEDTextBuffer, 1, HAL_MAX_DELAY);
#endif

#else   //SHOW_NUMBER
    speedValueLED = (showNumberValue / 10) << 4 | (showNumberValue % 10);
    LEDTextBuffer = speedValueLED;
    //LED
    HAL_UART_Transmit(&huart2, &LEDTextBuffer, 1, HAL_MAX_DELAY);
    HAL_UART_Transmit(&huart1, &LEDTextBuffer, 1, HAL_MAX_DELAY);
    //LCD
    snprintf(LCDTextBuffer, 7, "%6d", (uint16_t) showNumberValue);
    BSP_LCD_GLASS_DisplayString(LCDTextBuffer);

    showNumberValue++;
    if(showNumberValue >= 100)
    {
        showNumberValue = 0;
    }
#endif
}

//Control Speed Mode and Pause
void HAL_GPIO_EXTI_Callback(uint16_t GPIO_Pin)
{
#ifndef SHOW_NUMBER
	switch(GPIO_Pin)
	{
#ifndef SHOW_FREQ
		case JOY_UP_Pin:
			currentSpeedMode = (currentSpeedMode == speedModeNum - 1) ? 0 : currentSpeedMode + 1;
			ShowSpeedMode();
			HAL_Delay(1500);
			fftIndex = 0;
			break;
		case JOY_DOWN_Pin:
			currentSpeedMode = (currentSpeedMode == 0) ? speedModeNum - 1 : currentSpeedMode - 1;
			ShowSpeedMode();
			HAL_Delay(1500);
			fftIndex = 0;
			break;
#endif
		case JOY_RIGHT_Pin:
		case JOY_LEFT_Pin:
			if(isPause)
			{
				snprintf(LCDTextBuffer, 7, "% 6s", "---RUN");
				BSP_LCD_GLASS_DisplayString(LCDTextBuffer);	//Why????????????
				BSP_LCD_GLASS_DisplayString(LCDTextBuffer);	//For an unknown reason, here should have two refresh
				HAL_Delay(1500);
				BSP_LED_Off(LED_GREEN);
				BSP_LED_Off(LED_RED);
				fftIndex = 0;
				isPause = 0;
				//HAL_TIM_Base_Start_IT(&htim1);
			}
			else
			{
				//HAL_TIM_Base_Stop_IT(&htim1);
				isPause = 1;
				BSP_LED_Off(LED_GREEN);
				BSP_LED_Off(LED_RED);
				snprintf(LCDTextBuffer, 7, "% 6s", "-PAUSE");
				BSP_LCD_GLASS_DisplayString(LCDTextBuffer);
				HAL_Delay(1500);
				BSP_LED_On(LED_GREEN);
				BSP_LED_On(LED_RED);
				RefreshLCD();
			}
			break;
		default:
			break;
	}
#endif
}

#ifndef SHOW_NUMBER
void ShowSpeedMode()
{
	switch (currentSpeedMode)
	{
		case USER_SPEED_MODE_MPH:
			snprintf(LCDTextBuffer, 7, "% 6s", "---MPH");
			break;
		case USER_SPEED_MODE_MPS:
			snprintf(LCDTextBuffer, 7, "% 6s", "---MPS");
			break;
		case USER_SPEED_MODE_KPH:
			snprintf(LCDTextBuffer, 7, "% 6s", "---KPH");
			break;
		default:
			break;
	}
	BSP_LCD_GLASS_DisplayString(LCDTextBuffer);	//Why????????????
	BSP_LCD_GLASS_DisplayString(LCDTextBuffer);	//For an unknown reason, here should have two refresh
}
#endif

/* USER CODE END 4 */

void Error_Handler(void)
{
}

/************************ (C) COPYRIGHT STMicroelectronics *****END OF FILE****/
